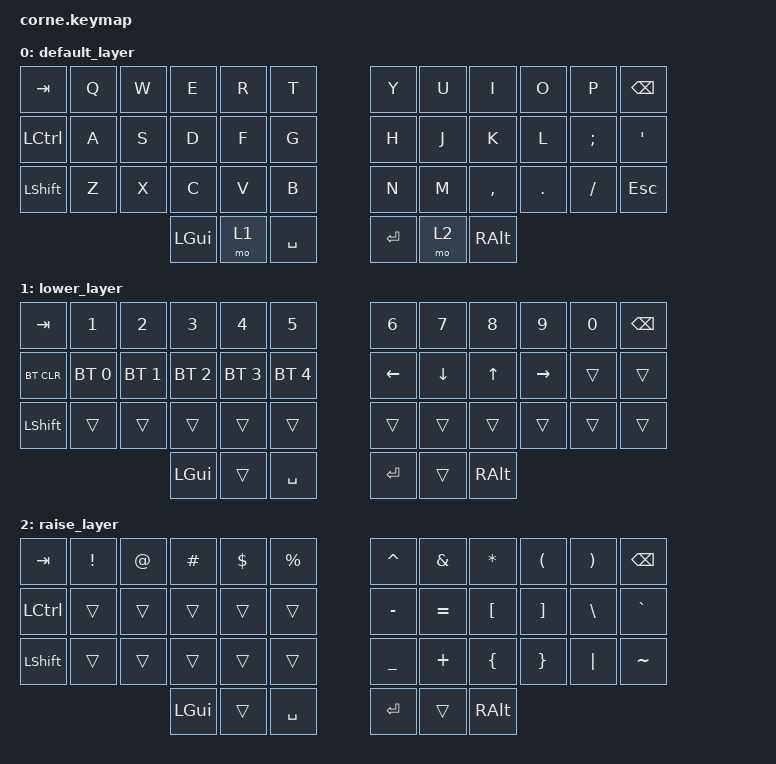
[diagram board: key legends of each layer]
#include <behaviors.dtsi>
#include <dt-bindings/zmk/keys.h>
#include <dt-bindings/zmk/bt.h>

#include <dt-bindings/zmk/matrix_transform.h>
#include <layouts/foostan/corne/6column.dtsi>

&foostan_corne_6col_layout {
    transform = <&default_transform>;
};

/ {
    chosen {
        zephyr;
        zmk,kscan = &kscan0;
        zmk,physical-layout = &foostan_corne_6col_layout;
    };

    default_transform: keymap_transform_0 {
        compatible = "zmk,matrix-transform";
        columns = <12>;
        rows = <4>;
// | SW1  | SW2  | SW3  | SW4  | SW5  | SW6  |   | SW6  | SW5  | SW4  | SW3  | SW2  | SW1  |
// | SW7  | SW8  | SW9  | SW10 | SW11 | SW12 |   | SW12 | SW11 | SW10 | SW9  | SW8  | SW7  |
// | SW13 | SW14 | SW15 | SW16 | SW17 | SW18 |   | SW18 | SW17 | SW16 | SW15 | SW14 | SW13 |
//                      | SW19 | SW20 | SW21 |   | SW21 | SW20 | SW19 |
        map = <
RC(0,0) RC(0,1) RC(0,2) RC(0,3) RC(0,4) RC(0,5)  RC(0,6) RC(0,7) RC(0,8) RC(0,9) RC(0,10) RC(0,11)
RC(1,0) RC(1,1) RC(1,2) RC(1,3) RC(1,4) RC(1,5)  RC(1,6) RC(1,7) RC(1,8) RC(1,9) RC(1,10) RC(1,11)
RC(2,0) RC(2,1) RC(2,2) RC(2,3) RC(2,4) RC(2,5)  RC(2,6) RC(2,7) RC(2,8) RC(2,9) RC(2,10) RC(2,11)
                        RC(3,3) RC(3,4) RC(3,5)  RC(3,6) RC(3,7) RC(3,8)
        >;
    };

    kscan0: kscan {
        compatible = "zmk,kscan-gpio-matrix";
        wakeup-source;

        diode-direction = "row2col";
        row-gpios
            = <&pro_micro 21 (GPIO_ACTIVE_HIGH)>
            , <&pro_micro 20 (GPIO_ACTIVE_HIGH)>
            , <&pro_micro 19 (GPIO_ACTIVE_HIGH)>
            , <&pro_micro 18 (GPIO_ACTIVE_HIGH)>
            ;
		col-gpios
			= <&pro_micro 9 (GPIO_ACTIVE_HIGH | GPIO_PULL_DOWN)>
			, <&pro_micro 8 (GPIO_ACTIVE_HIGH | GPIO_PULL_DOWN)>
			, <&pro_micro 7 (GPIO_ACTIVE_HIGH | GPIO_PULL_DOWN)>
			, <&pro_micro 6 (GPIO_ACTIVE_HIGH | GPIO_PULL_DOWN)>
			, <&pro_micro 5 (GPIO_ACTIVE_HIGH | GPIO_PULL_DOWN)>
			, <&pro_micro 4 (GPIO_ACTIVE_HIGH | GPIO_PULL_DOWN)>
			;

    };

};




// Key maps
/ {
        keymap {
                compatible = "zmk,keymap";

                default_layer {
// -----------------------------------------------------------------------------------------
// |  TAB |  Q  |  W  |  E  |  R  |  T  |   |  Y  |  U   |  I  |  O  |  P  | BSPC |
// | CTRL |  A  |  S  |  D  |  F  |  G  |   |  H  |  J   |  K  |  L  |  ;  |  '   |
// | SHFT |  Z  |  X  |  C  |  V  |  B  |   |  N  |  M   |  ,  |  .  |  /  | ESC  |
//                    | GUI | LWR | SPC |   | ENT | RSE  | ALT |
                        bindings = <
   &kp TAB   &kp Q &kp W &kp E &kp R &kp T   &kp Y &kp U  &kp I     &kp O   &kp P    &kp BSPC
   &kp LCTRL &kp A &kp S &kp D &kp F &kp G   &kp H &kp J  &kp K     &kp L   &kp SEMI &kp SQT
   &kp LSHFT &kp Z &kp X &kp C &kp V &kp B   &kp N &kp M  &kp COMMA &kp DOT &kp FSLH &kp ESC
                  &kp LGUI &mo 1 &kp SPACE   &kp RET &mo 2 &kp RALT
                        >;
                };

                lower_layer {
// -----------------------------------------------------------------------------------------
// |  TAB |  1  |  2  |  3  |  4  |  5  |   |  6  |  7  |  8  |  9  |  0  | BSPC |
// | BTCLR| BT1 | BT2 | BT3 | BT4 | BT5 |   | LFT | DWN |  UP | RGT |     |      |
// | SHFT |     |     |     |     |     |   |     |     |     |     |     |      |
//                    | GUI |     | SPC |   | ENT |     | ALT |
                        bindings = <
   &kp TAB    &kp N1       &kp N2       &kp N3       &kp N4       &kp N5         &kp N6   &kp N7   &kp N8 &kp N9    &kp N0 &kp BSPC
   &bt BT_CLR &bt BT_SEL 0 &bt BT_SEL 1 &bt BT_SEL 2 &bt BT_SEL 3 &bt BT_SEL 4   &kp LEFT &kp DOWN &kp UP &kp RIGHT &trans &trans
   &kp LSHFT  &trans       &trans       &trans       &trans       &trans         &trans   &trans   &trans &trans    &trans &trans
                                    &kp LGUI     &trans       &kp SPACE      &kp RET  &trans   &kp RALT
                        >;
                };

                raise_layer {
// -----------------------------------------------------------------------------------------
// |  TAB |  !  |  @  |  #  |  $  |  %  |   |  ^  |  &  |  *  |  (  |  )  | BSPC |
// | CTRL |     |     |     |     |     |   |  -  |  =  |  [  |  ]  |  \  |  `   |
// | SHFT |     |     |     |     |     |   |  _  |  +  |  {  |  }  | "|" |  ~   |
//                    | GUI |     | SPC |   | ENT |     | ALT |
                        bindings = <
   &kp  TAB  &kp EXCL &kp AT &kp HASH &kp DLLR &kp PRCNT   &kp CARET &kp AMPS  &kp ASTRK &kp LPAR &kp RPAR &kp BSPC
   &kp LCTRL &trans   &trans &trans   &trans   &trans      &kp MINUS &kp EQUAL &kp LBKT  &kp RBKT &kp BSLH &kp GRAVE
   &kp LSHFT &trans   &trans &trans   &trans   &trans      &kp UNDER &kp PLUS  &kp LBRC  &kp RBRC &kp PIPE &kp TILDE
                             &kp LGUI &trans   &kp SPACE   &kp RET   &trans    &kp RALT
                        >;
                };
        };

};

&default_transform {
    col-offset = <6>;
};
